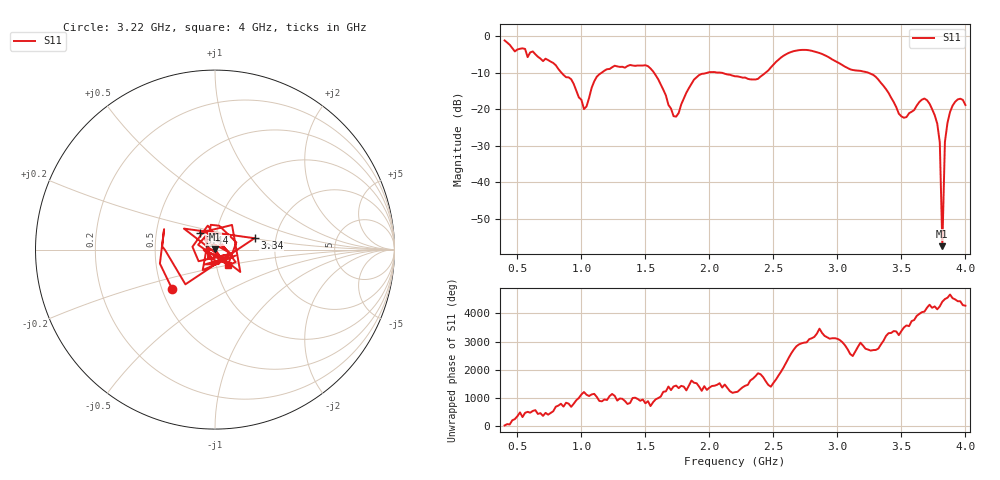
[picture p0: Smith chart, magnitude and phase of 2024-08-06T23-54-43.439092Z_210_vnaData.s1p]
!Created with skrf (http://scikit-rf.org).
# Hz S RI R 50.0
!freq ReS11 ImS11
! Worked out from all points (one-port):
!   181 points, 400 MHz to 4 GHz, reference 50 ohm
!   lowest |S11| = -57.4 dB at 3.82 GHz (marker M1), VSWR 1.00, Z = 50 + j0.134 ohm
!   |S11| at or under -10 dB: 1.567 GHz to 1.986 GHz (419.4 MHz wide, 23.6 % of centre); 2.088 GHz to 2.439 GHz (351.2 MHz wide, 15.5 % of centre); 3.241 GHz to end of sweep (the widest 3 of 4)
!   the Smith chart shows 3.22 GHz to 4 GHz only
!   S11 on the Smith chart (normalised r, x): 3.22 GHz: 0.57, -0.28; 3.34 GHz: 1.55, +0.21; 3.44 GHz: 0.83, +0.16; 4 GHz: 1.14, -0.20
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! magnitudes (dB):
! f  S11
! 400 MHz  -1.2
! 860 MHz  -10.6
! 920 MHz  -11.8
! 1.02 GHz  -20.0
! 1.12 GHz  -11.1
! 1.3 GHz  -8.4
! 1.52 GHz  -8.2
! 1.6 GHz  -11.8
! 1.72 GHz  -21.9
! 1.76 GHz  -21.0
! 1.92 GHz  -10.6
! 2.2 GHz  -11.0
! 2.38 GHz  -11.7
! 2.66 GHz  -4.1
! 3.1 GHz  -9.1
! 3.22 GHz  -9.8
! 3.34 GHz  -12.8
! 3.44 GHz  -18.0
! 3.5 GHz  -21.9
! 3.56 GHz  -21.1
! 3.68 GHz  -17.1
! 3.78 GHz  -23.9
! 3.8 GHz  -29.0
! 3.82 GHz  -57.4
! 3.84 GHz  -28.9
! 3.86 GHz  -23.7
! 3.92 GHz  -18.0
! 4 GHz  -18.8
